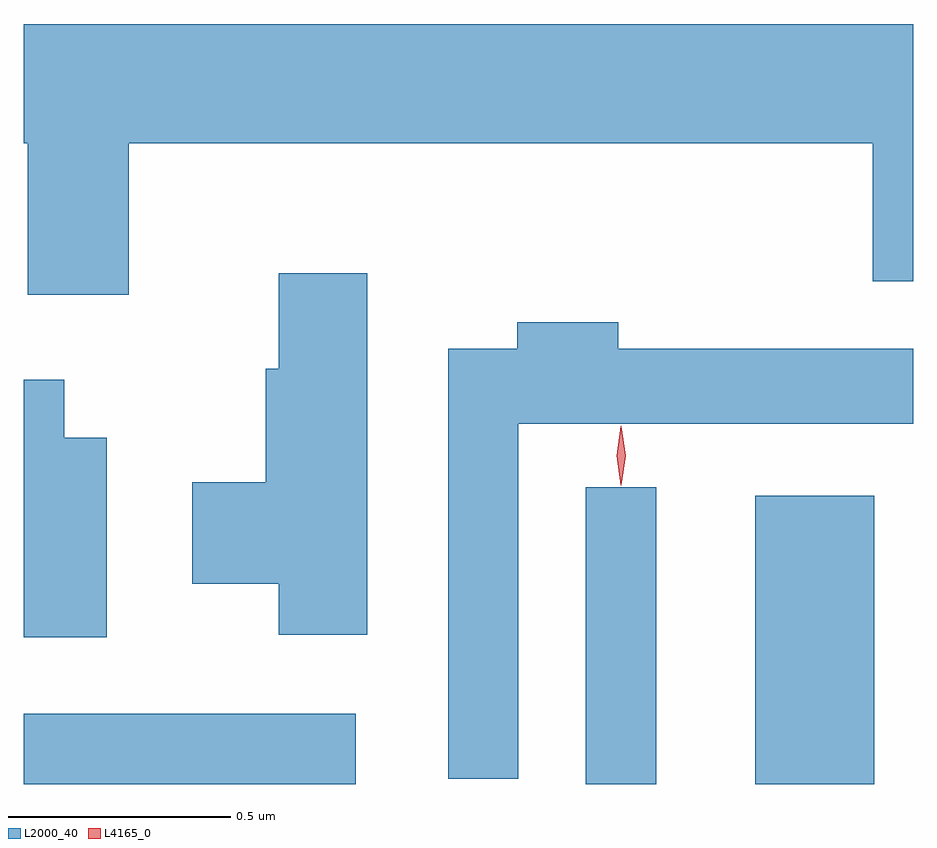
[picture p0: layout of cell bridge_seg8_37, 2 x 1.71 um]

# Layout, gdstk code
import gdstk
lib = gdstk.Library(unit=1e-6, precision=1e-09)
def R(c, l, rs):  # rectangles x0, y0, x1, y1
    for r in rs: c.add(gdstk.rectangle(r[:2], r[2:], *l))
def P(c, l, *ps):  # polygons
    for p in ps: c.add(gdstk.Polygon(p, *l))
L2000_40 = (2000, 40)
L4165_0 = (4165, 0)

bridge_seg8_37 = lib.new_cell('bridge_seg8_37')
R(bridge_seg8_37, L2000_40, [(1480.492,1941.536,1481.239,1941.694), (1481.756,1941.536,1481.914,1942.203), (1482.136,1941.536,1482.404,1942.184)])
P(bridge_seg8_37, L2000_40, [(1480.729,1942.976),(1482.401,1942.976),(1482.401,1942.666),(1482.492,1942.666),(1482.492,1943.244),(1480.492,1943.244),(1480.492,1942.976),(1480.501,1942.976),(1480.501,1942.636),(1480.729,1942.636)],
  [(1481.264,1942.684),(1481.066,1942.684),(1481.066,1942.469),(1481.036,1942.469),(1481.036,1942.214),(1480.871,1942.214),(1480.871,1941.986),(1481.066,1941.986),(1481.066,1941.871),(1481.264,1941.871)],
  [(1481.604,1942.346),(1482.492,1942.346),(1482.492,1942.514),(1481.829,1942.514),(1481.829,1942.574),(1481.601,1942.574),(1481.601,1942.514),(1481.446,1942.514),(1481.446,1941.548),(1481.604,1941.548)],
  [(1480.679,1942.314),(1480.584,1942.314),(1480.584,1942.444),(1480.492,1942.444),(1480.492,1941.866),(1480.679,1941.866)])
P(bridge_seg8_37, L4165_0, [(1481.834,1942.207),(1481.825,1942.274),(1481.834,1942.34),(1481.835,1942.341),(1481.835,1942.34),(1481.845,1942.274),(1481.835,1942.207),(1481.835,1942.207)])

lib.write_gds('bridge_seg8_37.gds')
